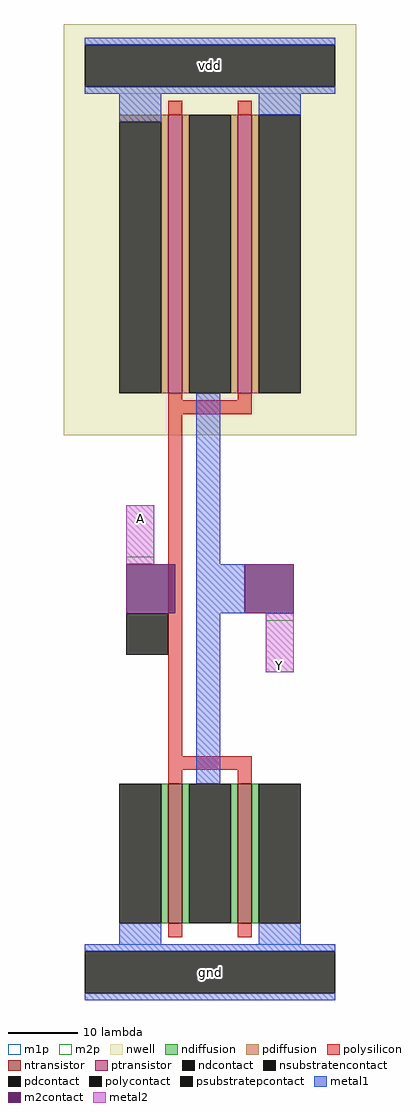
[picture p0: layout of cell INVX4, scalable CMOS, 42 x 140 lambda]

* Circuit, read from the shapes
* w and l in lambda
.subckt INVX4 A Y vdd gnd
M1 Y A gnd gnd nfet w=20 l=2 m=2
M2 Y A vdd vdd pfet w=40 l=2 m=2
.ends

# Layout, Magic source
magic
tech scmos
magscale 1 2
<< nwell >>
rect -12 154 72 272
<< ntransistor >>
rect 18 14 22 54
rect 38 14 42 54
<< ptransistor >>
rect 18 166 22 246
rect 38 166 42 246
<< ndiffusion >>
rect 16 14 18 54
rect 22 14 24 54
rect 36 14 38 54
rect 42 14 44 54
<< pdiffusion >>
rect 4 244 18 246
rect 16 166 18 244
rect 22 166 24 246
rect 36 166 38 246
rect 42 166 44 246
<< ndcontact >>
rect 4 14 16 54
rect 24 14 36 54
rect 44 14 56 54
<< pdcontact >>
rect 4 166 16 244
rect 24 166 36 246
rect 44 166 56 246
<< psubstratepcontact >>
rect -6 -6 66 6
<< nsubstratencontact >>
rect -6 254 66 266
<< polysilicon >>
rect 18 246 22 250
rect 38 246 42 250
rect 18 164 22 166
rect 38 164 42 166
rect 18 160 42 164
rect 18 62 22 160
rect 18 58 42 62
rect 18 54 22 58
rect 38 54 42 58
rect 18 10 22 14
rect 38 10 42 14
<< polycontact >>
rect 6 91 18 103
<< metal1 >>
rect -6 266 66 268
rect -6 252 66 254
rect 4 244 16 252
rect 44 246 56 252
rect 26 117 33 166
rect 26 103 40 117
rect 26 54 33 103
rect 4 8 16 14
rect 44 8 56 14
rect -6 6 66 8
rect -6 -8 66 -6
<< m2contact >>
rect 6 103 20 117
rect 40 103 54 117
<< metal2 >>
rect 6 117 14 134
rect 46 86 54 103
<< m1p >>
rect -6 252 66 268
rect -6 -8 66 8
<< m2p >>
rect 6 119 14 134
rect 46 86 54 101
<< labels >>
rlabel metal2 10 130 10 130 1 A
port 1 n signal input
rlabel metal2 50 88 50 88 1 Y
port 2 n signal output
rlabel metal1 -6 252 66 268 0 vdd
port 3 nsew power bidirectional abutment
rlabel metal1 -6 -8 66 8 0 gnd
port 4 nsew ground bidirectional abutment
<< properties >>
string FIXED_BBOX 0 0 60 260
string LEFclass CORE
string LEFsite core
string LEFsymmetry X Y
<< end >>
